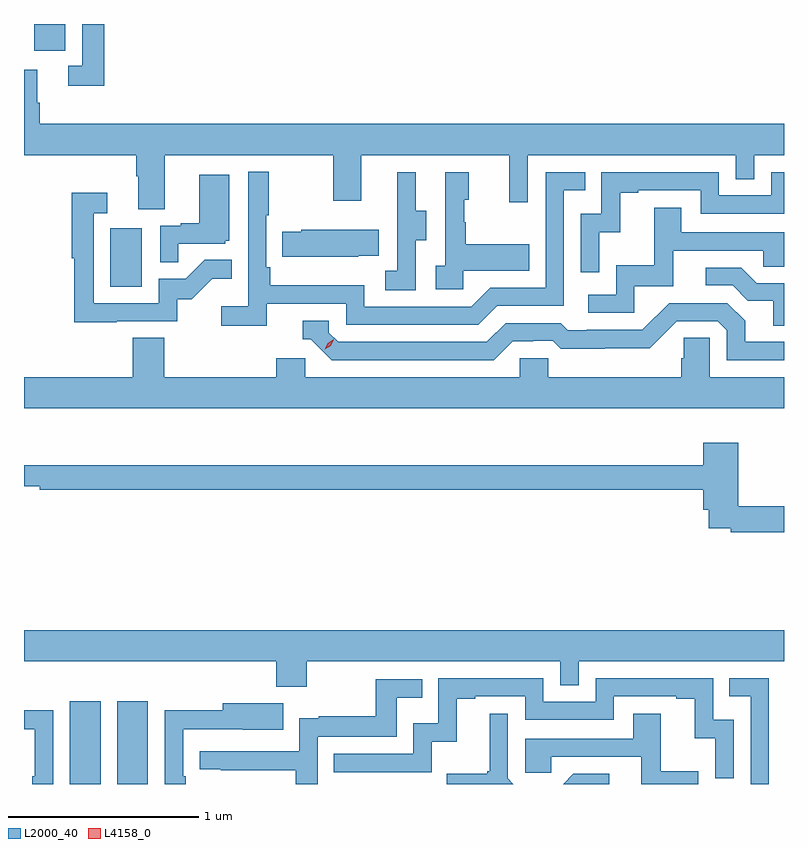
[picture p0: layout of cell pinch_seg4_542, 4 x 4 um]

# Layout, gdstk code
import gdstk
lib = gdstk.Library(unit=1e-6, precision=1e-09)
def R(c, l, rs):  # rectangles x0, y0, x1, y1
    for r in rs: c.add(gdstk.rectangle(r[:2], r[2:], *l))
def P(c, l, *ps):  # polygons
    for p in ps: c.add(gdstk.Polygon(p, *l))
L2000_40 = (2000, 40)
L4158_0 = (4158, 0)

pinch_seg4_542 = lib.new_cell('pinch_seg4_542')
R(pinch_seg4_542, L2000_40, [(1131.251,778.858,1131.412,779.293), (1131.5,778.858,1131.661,779.293), (1131.464,781.476,1131.628,781.783), (1131.062,782.718,1131.226,782.858)])
P(pinch_seg4_542, L2000_40, [(1131.431,782.858),(1131.315,782.858),(1131.315,782.637),(1131.243,782.637),(1131.243,782.532),(1131.431,782.532)],
  [(1131.751,782.168),(1132.636,782.168),(1132.636,781.929),(1132.783,781.929),(1132.783,782.168),(1133.564,782.168),(1133.564,781.92),(1133.661,781.92),(1133.661,782.168),(1134.756,782.168),(1134.756,782.041),(1134.852,782.041),(1134.852,782.168),(1135.009,782.168),(1135.009,782.332),(1131.092,782.332),(1131.092,782.444),(1131.079,782.444),(1131.079,782.618),(1131.009,782.618),(1131.009,782.168),(1131.599,782.168),(1131.599,782.056),(1131.611,782.056),(1131.611,781.882),(1131.751,781.882)],
  [(1132.286,781.386),(1132.704,781.386),(1132.704,781.275),(1133.401,781.275),(1133.5,781.374),(1133.85,781.374),(1133.85,781.983),(1133.963,781.983),(1133.963,782.079),(1133.754,782.079),(1133.754,781.47),(1133.463,781.47),(1133.364,781.371),(1132.8,781.371),(1132.8,781.483),(1132.304,781.483),(1132.304,781.579),(1132.284,781.579),(1132.284,781.852),(1132.297,781.852),(1132.297,782.08),(1132.188,782.08),(1132.188,781.372),(1132.047,781.372),(1132.047,781.27),(1132.286,781.27)],
  [(1134.036,781.763),(1134.146,781.763),(1134.146,781.971),(1134.241,781.971),(1134.241,781.983),(1134.57,781.983),(1134.57,781.86),(1135.009,781.86),(1135.009,782.079),(1134.942,782.079),(1134.942,781.956),(1134.666,781.956),(1134.666,782.079),(1134.048,782.079),(1134.048,781.86),(1133.94,781.86),(1133.94,781.551),(1134.036,781.551)],
  [(1133.07,781.72),(1133.125,781.72),(1133.125,781.875),(1133.071,781.875),(1133.071,782.077),(1132.973,782.077),(1132.973,781.863),(1132.974,781.863),(1132.974,781.559),(1132.911,781.559),(1132.911,781.456),(1133.07,781.456)],
  [(1133.322,781.559),(1133.669,781.559),(1133.669,781.699),(1133.335,781.699),(1133.335,781.814),(1133.325,781.814),(1133.325,781.932),(1133.35,781.932),(1133.35,782.077),(1133.226,782.077),(1133.226,781.586),(1133.175,781.586),(1133.175,781.461),(1133.322,781.461)],
  [(1131.821,781.701),(1132.068,781.701),(1132.068,781.716),(1132.09,781.716),(1132.09,782.065),(1131.932,782.065),(1131.932,781.81),(1131.833,781.81),(1131.833,781.797),(1131.726,781.797),(1131.726,781.603),(1131.821,781.603)],
  [(1131.497,781.293),(1131.816,781.293),(1131.816,781.41),(1131.892,781.41),(1131.999,781.517),(1132.103,781.517),(1132.103,781.616),(1131.959,781.616),(1131.861,781.518),(1131.717,781.518),(1131.717,781.389),(1131.375,781.389),(1131.375,781.863),(1131.448,781.863),(1131.448,781.969),(1131.259,781.969),(1131.259,781.626),(1131.274,781.626),(1131.274,781.288),(1131.497,781.288)],
  [(1134.222,781.479),(1134.427,781.479),(1134.427,781.665),(1134.901,781.665),(1134.901,781.581),(1135.009,781.581),(1135.009,781.761),(1134.469,781.761),(1134.469,781.891),(1134.325,781.891),(1134.325,781.588),(1134.126,781.588),(1134.126,781.434),(1133.979,781.434),(1133.979,781.338),(1134.222,781.338)],
  [(1132.769,781.637),(1132.877,781.637),(1132.877,781.774),(1132.467,781.774),(1132.467,781.764),(1132.369,781.764),(1132.369,781.634),(1132.769,781.634)],
  [(1135.009,781.494),(1134.865,781.494),(1134.784,781.575),(1134.597,781.575),(1134.597,781.482),(1134.738,781.482),(1134.818,781.402),(1134.953,781.402),(1134.953,781.27),(1135.009,781.27)],
  [(1133.581,781.188),(1133.688,781.188),(1133.688,781.191),(1133.791,781.191),(1133.833,781.149),(1134.066,781.149),(1134.066,781.151),(1134.302,781.151),(1134.444,781.293),(1134.66,781.293),(1134.708,781.245),(1134.708,781.089),(1135.009,781.089),(1135.009,781.185),(1134.805,781.185),(1134.805,781.295),(1134.711,781.389),(1134.405,781.389),(1134.264,781.248),(1133.971,781.248),(1133.971,781.245),(1133.872,781.245),(1133.833,781.284),(1133.544,781.284),(1133.445,781.185),(1132.662,781.185),(1132.614,781.233),(1132.614,781.296),(1132.475,781.296),(1132.475,781.2),(1132.518,781.2),(1132.629,781.089),(1133.482,781.089)],
  [(1135.009,781),(1134.618,781),(1134.618,781.208),(1134.481,781.208),(1134.481,781.098),(1134.467,781.098),(1134.467,781),(1133.769,781),(1133.769,781.098),(1133.619,781.098),(1133.619,781),(1132.488,781),(1132.488,781.098),(1132.337,781.098),(1132.337,781),(1131.746,781),(1131.746,781.208),(1131.581,781.208),(1131.581,781),(1131.009,781),(1131.009,780.836),(1135.009,780.836)],
  [(1135.009,780.32),(1134.767,780.32),(1134.767,780.655),(1134.584,780.655),(1134.584,780.535),(1131.009,780.535),(1131.009,780.424),(1131.091,780.424),(1131.091,780.406),(1134.584,780.406),(1134.584,780.302),(1134.614,780.302),(1134.614,780.204),(1134.73,780.204),(1134.73,780.184),(1135.009,780.184)],
  [(1132.497,779.504),(1133.832,779.504),(1133.832,779.377),(1133.928,779.377),(1133.928,779.504),(1135.009,779.504),(1135.009,779.668),(1131.009,779.668),(1131.009,779.504),(1132.337,779.504),(1132.337,779.369),(1132.497,779.369)],
  [(1134.744,779.196),(1134.636,779.196),(1134.636,779.415),(1134.018,779.415),(1134.018,779.292),(1133.742,779.292),(1133.742,779.415),(1133.19,779.415),(1133.19,779.179),(1133.058,779.179),(1133.058,779.016),(1132.639,779.016),(1132.639,778.92),(1133.154,778.92),(1133.154,779.081),(1133.287,779.081),(1133.287,779.307),(1133.383,779.307),(1133.383,779.319),(1133.646,779.319),(1133.646,779.196),(1134.114,779.196),(1134.114,779.319),(1134.443,779.319),(1134.443,779.307),(1134.539,779.307),(1134.539,779.099),(1134.648,779.099),(1134.648,778.887),(1134.744,778.887)],
  [(1134.93,779.415),(1134.721,779.415),(1134.721,779.319),(1134.834,779.319),(1134.834,778.858),(1134.93,778.858)],
  [(1132.554,779.106),(1132.971,779.106),(1132.971,779.312),(1133.105,779.312),(1133.105,779.409),(1132.86,779.409),(1132.86,779.215),(1132.561,779.215),(1132.561,779.203),(1132.458,779.203),(1132.458,779.031),(1131.933,779.031),(1131.933,778.935),(1132.045,778.935),(1132.045,778.93),(1132.438,778.93),(1132.438,778.858),(1132.554,778.858)],
  [(1131.86,778.9),(1131.846,778.9),(1131.846,779.145),(1132.159,779.145),(1132.159,779.144),(1132.373,779.144),(1132.373,779.284),(1132.055,779.284),(1132.055,779.246),(1131.75,779.246),(1131.75,778.858),(1131.86,778.858)],
  [(1131.162,779.246),(1131.009,779.246),(1131.009,779.145),(1131.066,779.145),(1131.066,778.9),(1131.053,778.9),(1131.053,778.858),(1131.162,778.858)],
  [(1133.556,778.887),(1133.556,779.227),(1133.459,779.227),(1133.459,778.924),(1133.448,778.924),(1133.448,778.912),(1133.235,778.912),(1133.235,778.858),(1133.585,778.858)],
  [(1134.558,778.924),(1134.359,778.924),(1134.359,779.227),(1134.215,779.227),(1134.215,779.097),(1133.646,779.097),(1133.646,778.917),(1133.783,778.917),(1133.783,779.001),(1134.257,779.001),(1134.257,778.858),(1134.558,778.858)],
  [(1134.088,778.911),(1133.9,778.911),(1133.847,778.858),(1134.088,778.858)])
P(pinch_seg4_542, L4158_0, [(1132.592,781.145),(1132.592,781.145),(1132.608,781.178),(1132.638,781.199),(1132.639,781.199),(1132.639,781.198),(1132.623,781.165),(1132.593,781.145)])

lib.write_gds('pinch_seg4_542.gds')
